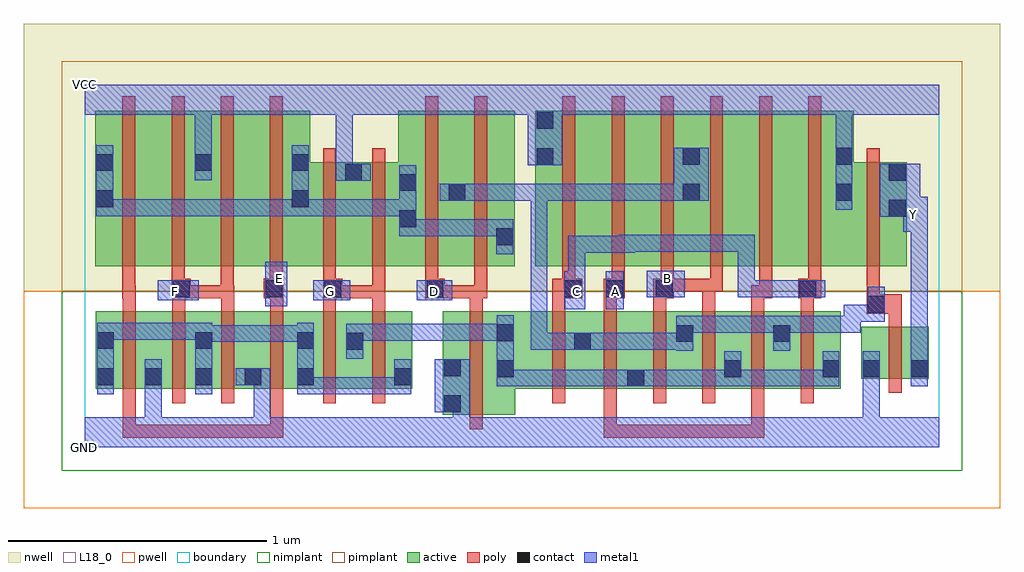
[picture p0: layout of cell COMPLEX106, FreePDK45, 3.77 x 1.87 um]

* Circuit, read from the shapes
.subckt COMPLEX106 A B C D E F G GND VCC Y
M1 GND E n1 VSUBS nfet w=0.3u l=0.05u m=2
M2 n1 F GND VSUBS nfet w=0.3u l=0.05u m=2
M3 n2 G n1 VSUBS nfet w=0.3u l=0.05u m=2
M4 n2 D GND VSUBS nfet w=0.4u l=0.05u
M5 n3 C n2 VSUBS nfet w=0.3u l=0.05u m=2
M6 n2 A n3 VSUBS nfet w=0.3u l=0.05u m=2
M7 n3 B n2 VSUBS nfet w=0.3u l=0.05u m=2
M8 Y n3 GND VSUBS nfet w=0.2u l=0.05u
M9 n4 E n5 n6 pfet w=0.6u l=0.05u
M10 VCC F n4 n6 pfet w=0.6u l=0.05u
M11 n7 F VCC n6 pfet w=0.6u l=0.05u
M12 n5 E n7 n6 pfet w=0.6u l=0.05u
M13 VCC G n5 n6 pfet w=0.4u l=0.05u m=2
M14 n3 D n5 n6 pfet w=0.6u l=0.05u m=2
M15 n8 C VCC n6 pfet w=0.6u l=0.05u
M16 n9 A n8 n6 pfet w=0.6u l=0.05u
M17 n3 B n9 n6 pfet w=0.6u l=0.05u
M18 n10 B n3 n6 pfet w=0.6u l=0.05u
M19 n11 A n10 n6 pfet w=0.6u l=0.05u
M20 VCC C n11 n6 pfet w=0.6u l=0.05u
M21 Y n3 VCC n6 pfet w=0.4u l=0.05u
.ends

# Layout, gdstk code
import gdstk
lib = gdstk.Library(unit=1e-6, precision=1e-09)
def R(c, l, rs):  # rectangles x0, y0, x1, y1
    for r in rs: c.add(gdstk.rectangle(r[:2], r[2:], *l))
def A(c, l, x, y, w, h, nx, ny, dx, dy):  # array of equal rectangles
    R(c, l, [(x+i*dx, y+j*dy, x+i*dx+w, y+j*dy+h) for i in range(nx) for j in range(ny)])
active = (1, 0)
pwell = (2, 0)
nwell = (3, 0)
nimplant = (4, 0)
pimplant = (5, 0)
poly = (9, 0)
contact = (10, 0)
metal1 = (11, 0)
L18_0 = (18, 0)
boundary = (235, 0)

complex106 = lib.new_cell('COMPLEX106')
R(complex106, active, [(1.382,0.125,1.662,0.525), (1.382,0.125,1.457,0.525), (1.587,0.2,1.662,0.525), (0.042,0.225,0.302,0.525), (0.227,0.225,0.497,0.525), (0.422,0.225,0.687,0.525), (0.612,0.225,0.89,0.525), (0.815,0.225,0.89,0.525), (0.815,0.225,1.08,0.525), (1.005,0.225,1.265,0.525), (1.19,0.225,1.265,0.525), (1.587,0.225,1.96,0.525), (1.885,0.225,2.165,0.525), (2.09,0.225,2.355,0.525), (2.09,0.225,2.165,0.517), (2.28,0.225,2.54,0.525), (2.465,0.225,2.54,0.525), (2.465,0.225,2.73,0.525), (2.655,0.225,2.92,0.525), (2.845,0.225,2.92,0.525), (0.042,0.232,0.117,0.525), (0.227,0.232,0.302,0.437), (0.422,0.232,0.497,0.517), (0.612,0.232,0.687,0.437), (1.005,0.247,1.08,0.447), (1.885,0.247,1.96,0.447), (2.28,0.247,2.355,0.525), (2.655,0.247,2.73,0.477), (3,0.265,3.075,0.465), (3,0.265,3.26,0.465), (3.185,0.265,3.26,0.465), (0.04,0.7,0.265,1.3), (0.04,0.7,0.145,1.2), (0.265,0.7,0.495,1.3), (0.42,0.7,0.645,1.3), (0.645,0.7,0.87,1.3), (0.795,0.7,1.075,1.1), (0.795,0.7,0.87,1.2), (1,0.7,1.285,1.1), (1.21,0.7,1.475,1.3), (1.21,0.7,1.285,1.2), (1.4,0.7,1.66,1.3), (1.585,0.7,1.66,1.047), (1.74,0.7,1.965,1.3), (1.965,0.7,2.155,1.3), (2.155,0.7,2.38,1.3), (2.305,0.7,2.535,1.3), (2.535,0.7,2.725,1.3), (2.725,0.7,2.97,1.3), (2.895,0.7,3.175,1.1), (2.895,0.7,2.97,1.3), (3.1,0.7,3.175,1.1), (0.42,0.707,0.495,1.3), (1.4,0.707,1.475,1.2), (1.74,0.707,1.815,1.3), (2.305,0.707,2.38,1.2), (1,0.747,1.075,1.1)])
R(complex106, pwell, [(-0.235,-0.235,3.535,0.602)])
R(complex106, nwell, [(-0.235,0.602,3.535,1.635)])
R(complex106, nimplant, [(-0.09,-0.09,3.39,0.602)])
R(complex106, pimplant, [(-0.09,0.602,3.39,1.49)])
A(complex106, poly, 0.147, 0.17, 0.05, 0.41, 4, 1, 0.19, 0)
A(complex106, poly, 2.005, 0.17, 0.05, 0.41, 5, 1, 0.19, 0)
A(complex106, poly, 0.147, 0.53, 0.05, 0.095, 4, 1, 0.19, 0)
A(complex106, poly, 1.845, 0.6, 0.05, 0.095, 4, 1, 0.19, 0)
A(complex106, poly, 0.145, 0.645, 0.05, 0.71, 4, 1, 0.19, 0)
A(complex106, poly, 1.845, 0.645, 0.05, 0.71, 6, 1, 0.19, 0)
R(complex106, poly, [(0.147,0.037,0.197,0.22), (0.147,0.037,0.197,0.087), (0.147,0.037,0.197,0.087), (0.147,0.037,0.197,0.087), (0.147,0.037,0.442,0.087), (0.392,0.037,0.442,0.087), (0.392,0.037,0.442,0.087), (0.392,0.037,0.442,0.087), (0.392,0.037,0.575,0.087), (0.525,0.037,0.575,0.087), (0.525,0.037,0.767,0.087), (0.717,0.037,0.767,0.22), (0.717,0.037,0.767,0.087), (0.717,0.037,0.767,0.087), (0.717,0.037,0.767,0.087), (2.005,0.037,2.055,0.22), (2.005,0.037,2.055,0.087), (2.005,0.037,2.055,0.087), (2.005,0.037,2.055,0.087), (2.005,0.037,2.187,0.087), (2.137,0.037,2.187,0.087), (2.137,0.037,2.407,0.087), (2.357,0.037,2.407,0.087), (2.357,0.037,2.407,0.087), (2.357,0.037,2.407,0.087), (2.357,0.037,2.625,0.087), (2.575,0.037,2.625,0.22), (2.575,0.037,2.625,0.087), (2.575,0.037,2.625,0.087), (2.575,0.037,2.625,0.087), (1.487,0.07,1.537,0.58), (0.92,0.17,0.97,0.58), (1.11,0.17,1.16,0.58), (1.805,0.17,1.855,0.58), (3.105,0.21,3.155,0.52), (3.105,0.47,3.155,0.565), (3.02,0.515,3.155,0.59), (0.92,0.53,0.97,0.625), (1.11,0.53,1.16,0.625), (1.487,0.53,1.537,0.625), (1.805,0.53,1.855,0.625), (2.005,0.53,2.055,0.625), (2.195,0.53,2.245,0.625), (2.385,0.53,2.435,0.65), (2.575,0.53,2.625,0.625), (2.765,0.53,2.815,0.625), (3.02,0.54,3.07,0.695), (0.145,0.575,0.195,0.695), (0.145,0.575,0.197,0.625), (0.335,0.575,0.41,0.65), (0.36,0.575,0.575,0.625), (0.525,0.575,0.575,0.695), (0.525,0.575,0.575,0.625), (0.525,0.575,0.575,0.625), (0.525,0.575,0.577,0.625), (0.692,0.575,0.767,0.65), (0.92,0.575,0.995,0.65), (0.945,0.575,0.995,0.625), (0.945,0.575,0.995,0.625), (0.945,0.575,1.16,0.625), (1.11,0.575,1.16,0.695), (1.11,0.575,1.16,0.625), (1.315,0.575,1.39,0.65), (1.34,0.575,1.537,0.625), (1.487,0.575,1.537,0.625), (1.487,0.575,1.537,0.625), (1.487,0.575,1.555,0.625), (1.505,0.575,1.555,0.695), (1.805,0.575,1.922,0.65), (2.005,0.575,2.085,0.65), (2.195,0.575,2.275,0.65), (2.575,0.575,2.655,0.625), (2.605,0.575,2.655,0.695), (2.755,0.575,2.845,0.65), (0.335,0.6,0.385,0.695), (0.715,0.6,0.765,0.695), (0.92,0.6,0.97,0.695), (1.315,0.6,1.365,0.695), (2.225,0.6,2.275,0.65), (2.225,0.6,2.275,0.65), (2.225,0.6,2.435,0.65), (2.385,0.6,2.465,0.65), (2.795,0.6,2.845,0.695), (0.92,0.645,0.97,1.155), (1.11,0.645,1.16,1.155), (1.315,0.645,1.365,1.355), (1.505,0.645,1.555,1.355), (3.02,0.645,3.07,1.155)])
R(complex106, contact, [(1.387,0.135,1.452,0.2), (2.095,0.235,2.16,0.3), (0.047,0.24,0.112,0.305), (0.232,0.24,0.297,0.305), (0.427,0.24,0.492,0.305), (0.617,0.24,0.682,0.305), (0.82,0.24,0.885,0.305), (1.195,0.24,1.26,0.305), (1.592,0.27,1.657,0.335), (2.47,0.27,2.535,0.335), (2.85,0.27,2.915,0.335), (3.005,0.27,3.07,0.335), (3.19,0.27,3.255,0.335), (1.387,0.275,1.452,0.34), (1.01,0.377,1.075,0.442), (1.89,0.377,1.955,0.442), (0.047,0.38,0.112,0.445), (0.427,0.38,0.492,0.445), (0.82,0.38,0.885,0.445), (2.285,0.407,2.35,0.472), (2.66,0.407,2.725,0.472), (1.592,0.41,1.657,0.475), (3.025,0.52,3.09,0.585), (0.34,0.58,0.405,0.645), (0.697,0.58,0.762,0.645), (0.925,0.58,0.99,0.645), (1.32,0.58,1.385,0.645), (1.852,0.58,1.917,0.645), (2.015,0.58,2.08,0.645), (2.205,0.58,2.27,0.645), (2.76,0.58,2.825,0.645), (1.59,0.78,1.655,0.845), (1.215,0.85,1.28,0.915), (3.105,0.89,3.17,0.955), (0.045,0.927,0.11,0.992), (0.8,0.927,0.865,0.992), (1.405,0.952,1.47,1.017), (2.31,0.952,2.375,1.017), (2.9,0.952,2.965,1.017), (1.215,0.99,1.28,1.055), (1.005,1.03,1.07,1.095), (3.105,1.03,3.17,1.095), (0.045,1.067,0.11,1.132), (0.425,1.067,0.49,1.132), (0.8,1.067,0.865,1.132), (1.745,1.09,1.81,1.155), (2.31,1.092,2.375,1.157), (2.9,1.092,2.965,1.157), (1.745,1.23,1.81,1.295)])
R(complex106, metal1, [(0,0,3.3,0.115), (0.232,0.05,0.297,0.115), (0.232,0.05,0.297,0.115), (0.232,0.05,0.297,0.27), (0.652,0.05,0.717,0.115), (0.652,0.05,0.717,0.115), (0.652,0.05,0.717,0.305), (1.422,0.05,1.487,0.2), (3.005,0.05,3.07,0.115), (3.005,0.05,3.07,0.115), (3.005,0.05,3.07,0.115), (3.005,0.05,3.07,0.115), (3.005,0.05,3.07,0.3), (1.352,0.135,1.487,0.34), (0.047,0.205,0.112,0.48), (0.232,0.205,0.297,0.34), (0.427,0.205,0.492,0.48), (0.82,0.205,0.885,0.27), (0.82,0.205,0.885,0.27), (0.82,0.205,0.885,0.27), (0.82,0.205,0.885,0.27), (0.82,0.205,0.885,0.48), (0.82,0.205,1.122,0.27), (1.057,0.205,1.122,0.27), (1.057,0.205,1.122,0.27), (1.057,0.205,1.122,0.27), (1.057,0.205,1.26,0.27), (1.195,0.205,1.26,0.34), (1.592,0.235,1.657,0.3), (1.592,0.235,1.657,0.3), (1.592,0.235,1.657,0.3), (1.592,0.235,1.657,0.3), (1.592,0.235,1.657,0.51), (1.592,0.235,1.94,0.3), (1.875,0.235,1.94,0.3), (1.875,0.235,1.94,0.3), (1.875,0.235,1.94,0.3), (1.875,0.235,2.085,0.3), (2.02,0.235,2.085,0.3), (2.02,0.235,2.125,0.3), (2.06,0.235,2.195,0.3), (2.13,0.235,2.222,0.3), (2.157,0.235,2.222,0.3), (2.157,0.235,2.36,0.3), (2.295,0.235,2.36,0.3), (2.295,0.235,2.36,0.3), (2.295,0.235,2.36,0.3), (2.295,0.235,2.535,0.3), (2.47,0.235,2.535,0.37), (2.47,0.235,2.587,0.3), (2.522,0.235,2.587,0.3), (2.522,0.235,2.777,0.3), (2.712,0.235,2.777,0.3), (2.712,0.235,2.777,0.3), (2.712,0.235,2.777,0.3), (2.712,0.235,2.915,0.3), (2.85,0.235,2.915,0.37), (3.005,0.235,3.07,0.37), (3.19,0.235,3.255,0.37), (0.582,0.24,0.717,0.305), (3.19,0.305,3.255,0.897), (1.01,0.342,1.075,0.477), (2.285,0.372,2.35,0.507), (2.66,0.372,2.725,0.507), (1.722,0.377,1.787,0.442), (1.722,0.377,1.92,0.442), (1.722,0.377,1.787,1.017), (1.855,0.377,1.92,0.442), (1.855,0.377,1.92,0.442), (1.855,0.377,1.99,0.442), (1.925,0.377,2.077,0.442), (2.012,0.377,2.077,0.442), (2.012,0.377,2.202,0.442), (2.137,0.377,2.202,0.442), (2.137,0.377,2.222,0.442), (2.157,0.377,2.222,0.442), (2.157,0.377,2.35,0.442), (0.427,0.407,0.577,0.472), (0.512,0.407,0.577,0.472), (0.512,0.407,0.657,0.472), (0.592,0.407,0.657,0.472), (0.592,0.407,0.727,0.472), (0.662,0.407,0.727,0.472), (0.662,0.407,0.885,0.472), (1.01,0.412,1.075,0.477), (1.01,0.412,1.075,0.477), (1.01,0.412,1.28,0.477), (1.215,0.412,1.28,0.477), (1.215,0.412,1.35,0.477), (1.285,0.412,1.35,0.477), (1.285,0.412,1.487,0.477), (1.422,0.412,1.487,0.477), (1.422,0.412,1.487,0.477), (1.422,0.412,1.487,0.477), (1.422,0.412,1.657,0.477), (0.047,0.415,0.112,0.48), (0.047,0.415,0.112,0.48), (0.047,0.415,0.25,0.48), (0.185,0.415,0.25,0.48), (0.185,0.415,0.25,0.48), (0.185,0.415,0.25,0.48), (0.185,0.415,0.492,0.48), (2.285,0.442,2.45,0.507), (2.385,0.442,2.45,0.507), (2.385,0.442,2.587,0.507), (2.522,0.442,2.587,0.507), (2.522,0.442,2.587,0.507), (2.522,0.442,2.587,0.507), (2.522,0.442,2.725,0.507), (2.66,0.442,2.725,0.507), (2.66,0.442,2.725,0.507), (2.66,0.442,2.932,0.507), (2.867,0.442,2.932,0.507), (2.867,0.442,2.997,0.507), (2.932,0.442,2.997,0.507), (2.932,0.442,2.997,0.55), (2.932,0.485,2.997,0.55), (2.932,0.485,3.09,0.55), (3.025,0.485,3.09,0.62), (1.852,0.532,1.932,0.68), (2.012,0.532,2.082,0.68), (0.697,0.545,0.782,0.717), (0.282,0.567,0.44,0.645), (0.882,0.567,1.025,0.645), (1.282,0.567,1.42,0.645), (2.17,0.58,2.317,0.682), (2.522,0.58,2.587,0.645), (2.522,0.58,2.587,0.645), (2.522,0.58,2.587,0.645), (2.522,0.58,2.777,0.645), (2.522,0.58,2.587,0.82), (2.712,0.58,2.777,0.645), (2.712,0.58,2.79,0.645), (2.725,0.58,2.86,0.645), (1.867,0.615,1.932,0.68), (1.867,0.615,1.932,0.68), (1.867,0.615,1.932,0.817), (1.59,0.745,1.655,0.88), (1.867,0.752,1.932,0.817), (1.867,0.752,2.077,0.817), (2.012,0.752,2.077,0.817), (2.012,0.752,2.127,0.817), (2.062,0.752,2.127,0.82), (2.062,0.755,2.222,0.82), (2.157,0.755,2.222,0.82), (2.157,0.755,2.36,0.82), (2.295,0.755,2.36,0.82), (2.295,0.755,2.36,0.82), (2.295,0.755,2.36,0.82), (2.295,0.755,2.587,0.82), (2.522,0.755,2.587,0.82), (1.215,0.815,1.28,1.09), (1.215,0.815,1.35,0.88), (1.285,0.815,1.35,0.88), (1.285,0.815,1.517,0.88), (1.452,0.815,1.517,0.88), (1.452,0.815,1.517,0.88), (1.452,0.815,1.517,0.88), (1.452,0.815,1.655,0.88), (3.162,0.832,3.255,0.967), (3.07,0.89,3.227,1.095), (3.162,0.89,3.227,0.955), (0.045,0.892,0.11,0.957), (0.045,0.892,0.11,0.957), (0.045,0.892,0.11,1.167), (0.045,0.892,0.25,0.957), (0.185,0.892,0.25,0.957), (0.185,0.892,0.25,0.957), (0.185,0.892,0.25,0.957), (0.185,0.892,0.51,0.957), (0.445,0.892,0.51,0.957), (0.445,0.892,0.51,0.957), (0.445,0.892,0.51,0.957), (0.445,0.892,0.727,0.957), (0.662,0.892,0.727,0.957), (0.662,0.892,0.727,0.957), (0.662,0.892,0.727,0.957), (0.662,0.892,0.865,0.957), (0.8,0.892,0.865,0.957), (0.8,0.892,0.865,0.957), (0.8,0.892,0.865,1.167), (0.8,0.892,1.022,0.957), (0.957,0.892,1.022,0.957), (0.957,0.892,1.21,0.957), (1.145,0.892,1.21,0.957), (1.145,0.892,1.28,0.957), (2.9,0.917,2.965,1.192), (1.37,0.952,1.505,1.017), (1.44,0.952,1.505,1.017), (1.44,0.952,1.505,1.017), (1.44,0.952,1.655,1.017), (1.59,0.952,1.655,1.017), (1.59,0.952,1.787,1.017), (1.722,0.952,1.787,1.017), (1.722,0.952,1.787,1.017), (1.722,0.952,1.787,1.017), (1.722,0.952,1.787,1.017), (1.722,0.952,1.787,1.017), (1.722,0.952,1.925,1.017), (1.86,0.952,1.925,1.017), (1.86,0.952,1.925,1.017), (1.86,0.952,1.925,1.017), (1.86,0.952,2.077,1.017), (2.012,0.952,2.077,1.017), (2.012,0.952,2.127,1.017), (2.062,0.952,2.127,1.017), (2.062,0.952,2.222,1.017), (2.157,0.952,2.222,1.017), (2.157,0.952,2.34,1.017), (2.275,0.952,2.41,1.157), (0.97,1.03,1.105,1.095), (0.97,1.03,1.035,1.35), (0.425,1.032,0.49,1.167), (1.71,1.09,1.845,1.295), (0.425,1.102,0.49,1.35), (2.9,1.127,2.965,1.35), (1.78,1.23,1.845,1.35), (0,1.285,3.3,1.4), (0.97,1.285,1.035,1.35), (0.97,1.285,1.035,1.35)])
R(complex106, L18_0, [(0,0,3.3,0.115), (0.232,0.05,0.297,0.115), (0.232,0.05,0.297,0.115), (0.232,0.05,0.297,0.27), (0.652,0.05,0.717,0.115), (0.652,0.05,0.717,0.115), (0.652,0.05,0.717,0.305), (1.422,0.05,1.487,0.2), (3.005,0.05,3.07,0.115), (3.005,0.05,3.07,0.115), (3.005,0.05,3.07,0.115), (3.005,0.05,3.07,0.115), (3.005,0.05,3.07,0.3), (1.352,0.135,1.487,0.34), (0.232,0.205,0.297,0.34), (3.005,0.235,3.07,0.37), (3.19,0.235,3.255,0.37), (0.582,0.24,0.717,0.305), (3.19,0.305,3.255,0.897), (1.852,0.532,1.932,0.68), (2.012,0.532,2.082,0.68), (0.697,0.545,0.782,0.717), (0.282,0.567,0.44,0.645), (0.317,0.567,0.382,0.632), (0.882,0.567,1.025,0.645), (0.917,0.567,0.982,0.632), (1.282,0.567,1.42,0.645), (1.317,0.567,1.382,0.632), (1.867,0.567,1.932,0.632), (2.017,0.567,2.082,0.632), (2.17,0.58,2.317,0.682), (2.522,0.58,2.587,0.645), (2.522,0.58,2.587,0.645), (2.522,0.58,2.587,0.645), (2.522,0.58,2.587,0.82), (2.522,0.58,2.777,0.645), (2.712,0.58,2.777,0.645), (2.712,0.58,2.79,0.645), (2.725,0.58,2.86,0.645), (1.867,0.615,1.932,0.68), (1.867,0.615,1.932,0.68), (1.867,0.615,1.932,0.817), (0.717,0.617,0.782,0.682), (2.217,0.617,2.282,0.682), (1.867,0.752,1.932,0.817), (1.867,0.752,2.077,0.817), (2.012,0.752,2.077,0.817), (2.012,0.752,2.127,0.817), (2.062,0.752,2.127,0.82), (2.062,0.755,2.222,0.82), (2.157,0.755,2.222,0.82), (2.157,0.755,2.36,0.82), (2.295,0.755,2.36,0.82), (2.295,0.755,2.36,0.82), (2.295,0.755,2.36,0.82), (2.295,0.755,2.587,0.82), (2.522,0.755,2.587,0.82), (3.162,0.832,3.255,0.967), (3.167,0.867,3.232,0.932), (3.07,0.89,3.227,1.095), (3.162,0.89,3.227,0.955), (2.9,0.917,2.965,1.192), (0.97,1.03,1.105,1.095), (0.97,1.03,1.035,1.35), (0.425,1.032,0.49,1.167), (1.71,1.09,1.845,1.295), (0.425,1.102,0.49,1.35), (2.9,1.127,2.965,1.35), (1.78,1.23,1.845,1.35), (0,1.285,3.3,1.4), (0.97,1.285,1.035,1.35), (0.97,1.285,1.035,1.35)])
R(complex106, boundary, [(0,0,3.3,1.4)])
complex106.add(gdstk.Label('A', (2.05,0.6), layer=11, texttype=0))
complex106.add(gdstk.Label('B', (2.25,0.65), layer=11, texttype=0))
complex106.add(gdstk.Label('C', (1.9,0.6), layer=11, texttype=0))
complex106.add(gdstk.Label('D', (1.35,0.6), layer=11, texttype=0))
complex106.add(gdstk.Label('E', (0.75,0.65), layer=11, texttype=0))
complex106.add(gdstk.Label('F', (0.35,0.6), layer=11, texttype=0))
complex106.add(gdstk.Label('G', (0.95,0.6), layer=11, texttype=0))
complex106.add(gdstk.Label('Y', (3.2,0.9), layer=11, texttype=0))
complex106.add(gdstk.Label('VCC', (0,1.4), layer=11, texttype=0))
complex106.add(gdstk.Label('GND', (0,0), layer=11, texttype=0))

lib.write_gds('COMPLEX106.gds')
